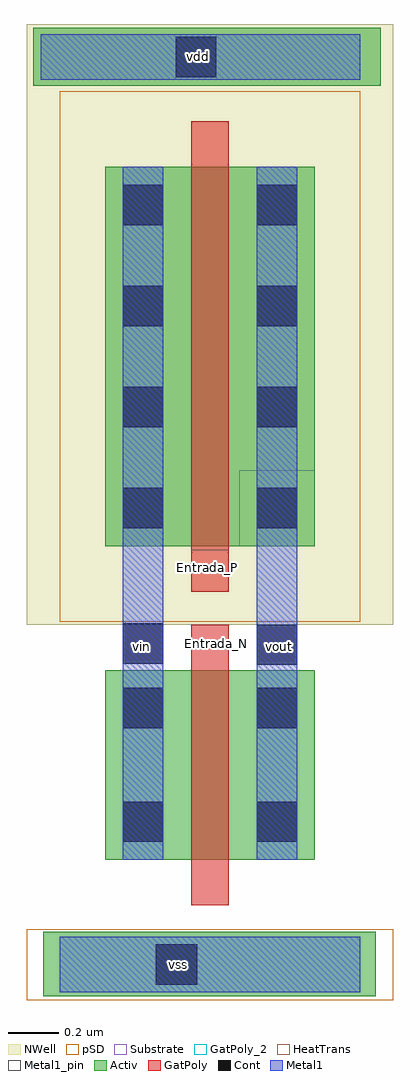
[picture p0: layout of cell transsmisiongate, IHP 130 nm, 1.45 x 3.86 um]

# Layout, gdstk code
import gdstk
lib = gdstk.Library(unit=1e-6, precision=5e-09)
def R(c, l, rs):  # rectangles x0, y0, x1, y1
    for r in rs: c.add(gdstk.rectangle(r[:2], r[2:], *l))
def A(c, l, x, y, w, h, nx, ny, dx, dy):  # array of equal rectangles
    R(c, l, [(x+i*dx, y+j*dy, x+i*dx+w, y+j*dy+h) for i in range(nx) for j in range(ny)])
Activ = (1, 0)
GatPoly = (5, 0)
GatPoly_2 = (5, 2)
Cont = (6, 0)
Metal1 = (8, 0)
Metal1_pin = (8, 2)
pSD = (14, 0)
NWell = (31, 0)
Substrate = (40, 0)
HeatTrans = (51, 0)

pmos = lib.new_cell('pmos')
R(pmos, Activ, [(0,0,0.3,0.3), (0,0,0.83,1.5), (0.53,0,0.83,0.3)])
R(pmos, GatPoly, [(0.34,-0.18,0.49,1.68), (0.34,-0.18,0.49,1.68)])
A(pmos, Cont, 0.07, 0.07, 0.16, 0.16, 1, 4, 0, 0.4)
A(pmos, Cont, 0.6, 0.07, 0.16, 0.16, 1, 4, 0, 0.4)
R(pmos, Metal1, [(0.07,0,0.23,1.5), (0.07,0,0.23,1.5), (0.6,0,0.76,1.5), (0.6,0,0.76,1.5)])
R(pmos, pSD, [(-0.18,-0.3,1.01,1.8)])
R(pmos, NWell, [(-0.31,-0.31,1.14,1.81)])
R(pmos, Substrate, [(0.53,0,0.83,0.3)])
R(pmos, HeatTrans, [(0.34,-0.18,0.49,1.68)])
pmos.add(gdstk.Label('pmos', (0.415,0.75), layer=63, texttype=0))
pmos.add(gdstk.Label('pmos', (0.415,0.75), layer=51, texttype=0))

nmos = lib.new_cell('nmos')
R(nmos, Activ, [(0,0,0.3,0.3), (0,0,0.83,0.75), (0.53,0,0.83,0.3)])
R(nmos, GatPoly, [(0.34,-0.18,0.49,0.93)])
R(nmos, GatPoly_2, [(0.34,-0.18,0.49,0.93)])
R(nmos, Cont, [(0.07,0.07,0.23,0.23), (0.6,0.07,0.76,0.23), (0.07,0.52,0.23,0.68), (0.6,0.52,0.76,0.68)])
R(nmos, Metal1, [(0.07,0,0.23,0.75), (0.6,0,0.76,0.75)])
R(nmos, Metal1_pin, [(0.07,0,0.23,0.75), (0.6,0,0.76,0.75)])
R(nmos, HeatTrans, [(0.34,-0.18,0.49,0.93)])
nmos.add(gdstk.Label('nmos', (0.415,0.375), layer=63, texttype=0))
nmos.add(gdstk.Label('nmos', (0.415,0.375), layer=51, texttype=0))

transsmisiongate = lib.new_cell('transsmisiongate')
R(transsmisiongate, Activ, [(-1.915,0.775,-0.6,1.03), (-1.955,4.375,-0.58,4.605)])
R(transsmisiongate, GatPoly_2, [(-1.33,2.095,-1.18,2.24), (-1.33,2.375,-1.18,2.54)])
R(transsmisiongate, Cont, [(-1.47,0.82,-1.305,0.98), (-1.07,2.085,-0.91,2.245), (-1.6,2.09,-1.44,2.25), (-1.39,4.41,-1.23,4.57)])
R(transsmisiongate, Metal1, [(-1.85,0.79,-0.66,1.01), (-1.6,2.055,-1.44,2.555), (-1.07,2.065,-0.91,2.555), (-1.925,4.4,-0.66,4.58)])
R(transsmisiongate, Metal1_pin, [(-1.47,0.82,-1.305,0.98), (-1.07,2.085,-0.91,2.245), (-1.6,2.09,-1.44,2.25), (-1.39,4.41,-1.23,4.57)])
R(transsmisiongate, pSD, [(-1.98,0.76,-0.53,1.04)])
R(transsmisiongate, NWell, [(-1.98,4.365,-0.53,4.62)])
transsmisiongate.add(gdstk.Reference(pmos, (-1.67,2.555)))
transsmisiongate.add(gdstk.Reference(nmos, (-1.67,1.315)))
transsmisiongate.add(gdstk.Label('vss', (-1.38,0.9), layer=8, texttype=2))
transsmisiongate.add(gdstk.Label('vin', (-1.525,2.16), layer=8, texttype=2))
transsmisiongate.add(gdstk.Label('vout', (-0.98,2.16), layer=8, texttype=2))
transsmisiongate.add(gdstk.Label('vdd', (-1.3,4.49), layer=8, texttype=2))
transsmisiongate.add(gdstk.Label('Entrada_N', (-1.23,2.17), layer=5, texttype=2))
transsmisiongate.add(gdstk.Label('Entrada_P', (-1.265,2.47), layer=5, texttype=2))

lib.write_gds('transsmisiongate.gds')
